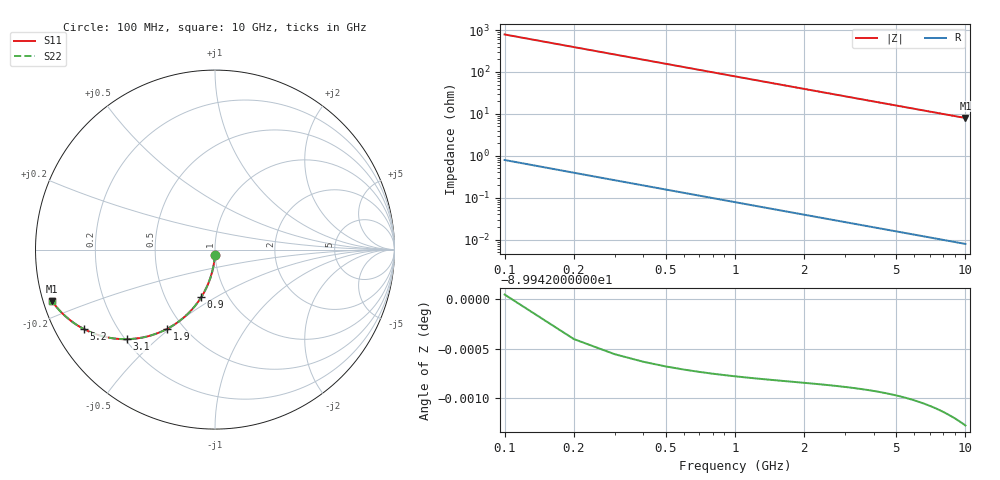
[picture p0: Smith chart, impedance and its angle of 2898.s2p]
# Hz S RI R 50.00
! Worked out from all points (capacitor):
!   100 points, 100 MHz to 10 GHz, reference 50 ohm
!   read as one part in shunt: C = 2.03 pF near 100 MHz
!   lowest |Z| = 7.98 ohm at 10 GHz (marker M1)
!   S11 on the Smith chart (normalised r, x): 100 MHz: 1.00, -0.06; 900 MHz: 0.75, -0.43; 1.9 GHz: 0.41, -0.49; 3.1 GHz: 0.21, -0.40; 5.2 GHz: 0.09, -0.28; 10 GHz: 0.02, -0.15
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1e8  -0.00105 -0.0319  0.9989 -0.0319  0.9989 -0.0319  -0.00105 -0.0319
2e8  -0.00412 -0.0635  0.9959 -0.0636  0.9959 -0.0636  -0.00412 -0.0635
3e8  -0.00917 -0.0948  0.9908 -0.0949  0.9908 -0.0949  -0.00917 -0.0948
4e8  -0.0161 -0.1255  0.9839 -0.1256  0.9839 -0.1256  -0.0161 -0.1255
5e8  -0.0249 -0.1554  0.9751 -0.1555  0.9751 -0.1555  -0.0249 -0.1554
6e8  -0.0355 -0.1844  0.9645 -0.1846  0.9645 -0.1846  -0.0355 -0.1844
7e8  -0.0476 -0.2124  0.9524 -0.2126  0.9524 -0.2126  -0.0476 -0.2124
9e8  -0.0762 -0.2647  0.9238 -0.265  0.9238 -0.265  -0.0762 -0.2647
1.1e9  -0.1096 -0.3117  0.8904 -0.312  0.8904 -0.312  -0.1096 -0.3117
1.3e9  -0.1465 -0.3529  0.8535 -0.3533  0.8535 -0.3533  -0.1465 -0.3529
1.5e9  -0.1858 -0.3882  0.8142 -0.3886  0.8142 -0.3886  -0.1858 -0.3882
1.8e9  -0.2469 -0.4305  0.7531 -0.431  0.7531 -0.431  -0.2469 -0.4305
1.9e9  -0.2675 -0.4419  0.7325 -0.4424  0.7325 -0.4424  -0.2675 -0.4419
2.5e9  -0.3865 -0.4861  0.6135 -0.4868  0.6135 -0.4868  -0.3865 -0.4861
3.1e9  -0.4912 -0.499  0.5088 -0.4998  0.5088 -0.4998  -0.4912 -0.499
3.4e9  -0.537 -0.4977  0.463 -0.4986  0.463 -0.4986  -0.537 -0.4977
4.2e9  -0.6382 -0.4795  0.3618 -0.4806  0.3618 -0.4806  -0.6382 -0.4795
5.1e9  -0.7216 -0.447  0.2783 -0.4484  0.2783 -0.4484  -0.7216 -0.447
5.2e9  -0.7293 -0.4431  0.2707 -0.4445  0.2707 -0.4445  -0.7293 -0.4431
6.7e9  -0.8167 -0.3855  0.1833 -0.3873  0.1833 -0.3873  -0.8167 -0.3855
8.4e9  -0.8747 -0.3294  0.1253 -0.3316  0.1253 -0.3316  -0.8747 -0.3294
1e10  -0.9081 -0.2871  0.0919 -0.2897  0.0919 -0.2897  -0.9081 -0.2871
